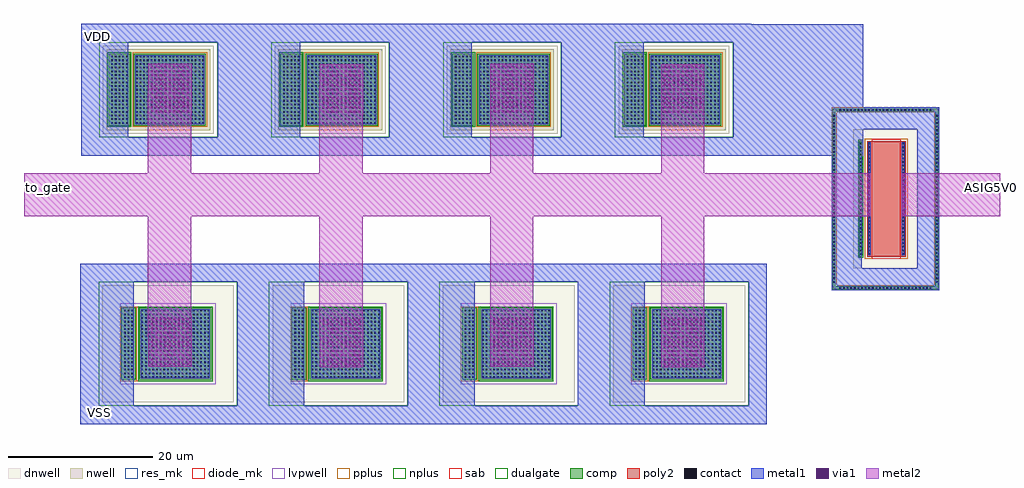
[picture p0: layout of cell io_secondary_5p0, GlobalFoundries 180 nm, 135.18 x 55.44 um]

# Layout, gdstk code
import gdstk
lib = gdstk.Library(unit=1e-6, precision=5e-09)
def R(c, l, rs):  # rectangles x0, y0, x1, y1
    for r in rs: c.add(gdstk.rectangle(r[:2], r[2:], *l))
def A(c, l, x, y, w, h, nx, ny, dx, dy):  # array of equal rectangles
    R(c, l, [(x+i*dx, y+j*dy, x+i*dx+w, y+j*dy+h) for i in range(nx) for j in range(ny)])
def P(c, l, *ps):  # polygons
    for p in ps: c.add(gdstk.Polygon(p, *l))
dnwell = (12, 0)
nwell = (21, 0)
comp = (22, 0)
poly2 = (30, 0)
pplus = (31, 0)
nplus = (32, 0)
contact = (33, 0)
metal1 = (34, 0)
via1 = (35, 0)
metal2 = (36, 0)
sab = (49, 0)
dualgate = (55, 0)
res_mk = (110, 5)
diode_mk = (115, 5)
lvpwell = (204, 0)

diode_nd2ps_1 = lib.new_cell('diode_nd2ps$1')
R(diode_nd2ps_1, dnwell, [(-5.14,-3.1,13.1,13.1)])
R(diode_nd2ps_1, comp, [(-2.48,0,-0.48,10), (0,0,10,10)])
R(diode_nd2ps_1, pplus, [(-2.64,-0.16,-0.32,10.16)])
R(diode_nd2ps_1, nplus, [(-0.16,-0.16,10.16,10.16)])
A(diode_nd2ps_1, contact, -2.1, 0.3, 0.22, 0.22, 3, 19, 0.51, 0.51)
A(diode_nd2ps_1, contact, 0.3, 0.3, 0.22, 0.22, 19, 19, 0.51, 0.51)
R(diode_nd2ps_1, metal1, [(-2.18,0.22,-0.78,9.78), (0.22,0.22,9.78,9.78)])
R(diode_nd2ps_1, dualgate, [(-5.64,-3.6,13.6,13.6)])
R(diode_nd2ps_1, diode_mk, [(-2.64,-0.16,10.16,10.16)])
R(diode_nd2ps_1, lvpwell, [(-2.64,-0.6,10.6,10.6)])

diode_pd2nw_1 = lib.new_cell('diode_pd2nw$1')
R(diode_pd2nw_1, dnwell, [(-4.26,-1.1,11.1,11.1)])
R(diode_pd2nw_1, nwell, [(-3.76,-0.6,10.6,10.6)])
R(diode_pd2nw_1, comp, [(-3.48,0,-0.48,10), (0,0,10,10)])
R(diode_pd2nw_1, pplus, [(-0.16,-0.16,10.16,10.16)])
R(diode_pd2nw_1, nplus, [(-3.64,-0.16,-0.32,10.16)])
A(diode_pd2nw_1, contact, -3.11, 0.3, 0.22, 0.22, 5, 19, 0.51, 0.51)
A(diode_pd2nw_1, contact, 0.3, 0.3, 0.22, 0.22, 19, 19, 0.51, 0.51)
R(diode_pd2nw_1, metal1, [(-3.19,0.22,-0.77,9.78), (0.22,0.22,9.78,9.78)])
R(diode_pd2nw_1, dualgate, [(-4.76,-1.6,11.6,11.6)])
R(diode_pd2nw_1, diode_mk, [(0,0,10,10)])
diode_pd2nw_1.add(gdstk.Label('Cathode', (-1.98,5), layer=34, texttype=10))
diode_pd2nw_1.add(gdstk.Label('Anode', (5,5), layer=34, texttype=10))

ppolyf_u_resistor = lib.new_cell('ppolyf_u_resistor')
R(ppolyf_u_resistor, dnwell, [(-2.56,-1.64,6.3,17.64)])
R(ppolyf_u_resistor, comp, [(-1.74,0,-1.38,16)])
P(ppolyf_u_resistor, comp, [(-5.42,-4.5),(-5.42,-4.14),(8.8,-4.14),(8.8,20.14),(-5.06,20.14),(-5.06,-4.14),(-5.42,-4.14),(-5.42,20.5),(9.16,20.5),(9.16,-4.5)])
R(ppolyf_u_resistor, poly2, [(-0.66,0,4.66,16)])
R(ppolyf_u_resistor, pplus, [(-0.96,-0.3,4.96,16.3)])
P(ppolyf_u_resistor, pplus, [(-5.58,-4.66),(-5.58,-3.98),(8.64,-3.98),(8.64,19.98),(-4.9,19.98),(-4.9,-3.98),(-5.58,-3.98),(-5.58,20.66),(9.32,20.66),(9.32,-4.66)])
R(ppolyf_u_resistor, nplus, [(-1.9,-0.16,-1.22,16.16)])
A(ppolyf_u_resistor, contact, -4.49, -4.43, 0.22, 0.22, 26, 2, 0.5, 24.64)
A(ppolyf_u_resistor, contact, -5.35, -3.61, 0.22, 0.22, 1, 47, 0, 0.5)
A(ppolyf_u_resistor, contact, 8.87, -3.61, 0.22, 0.22, 1, 47, 0, 0.5)
A(ppolyf_u_resistor, contact, -1.67, 0.24, 0.22, 0.22, 1, 31, 0, 0.51)
A(ppolyf_u_resistor, contact, -0.44, 0.24, 0.22, 0.22, 1, 31, 0, 0.51)
A(ppolyf_u_resistor, contact, 4.22, 0.24, 0.22, 0.22, 1, 31, 0, 0.51)
R(ppolyf_u_resistor, metal1, [(-1.75,0.16,-1.37,15.84), (-0.52,0.16,-0.14,15.84), (4.14,0.16,4.52,15.84)])
P(ppolyf_u_resistor, metal1, [(-5.42,-4.5),(-5.42,-4.14),(8.8,-4.14),(8.8,20.14),(-5.06,20.14),(-5.06,-4.14),(-5.42,-4.14),(-5.42,20.5),(9.16,20.5),(9.16,-4.5)])
R(ppolyf_u_resistor, sab, [(0,-0.28,4,16.28)])
R(ppolyf_u_resistor, res_mk, [(0,0,4,16)])

via_dev_3 = lib.new_cell('via_dev$3')
R(via_dev_3, metal1, [(0,0,0.4,6)])
A(via_dev_3, via1, 0.07, 0.22, 0.26, 0.26, 1, 11, 0, 0.53)
R(via_dev_3, metal2, [(0,0,0.4,6)])

via_dev_2 = lib.new_cell('via_dev$2')
R(via_dev_2, metal1, [(0,0,6,7)])
A(via_dev_2, via1, 0.39, 0.27, 0.26, 0.26, 9, 11, 0.62, 0.62)
R(via_dev_2, metal2, [(0,0,6,7)])

io_secondary_5p0 = lib.new_cell('io_secondary_5p0')
R(io_secondary_5p0, metal1, [(-29.215,-3.44,65.86,-0.925), (-29.215,-3.44,-21.785,18.8), (-7.45,-3.44,1.83,18.8), (16.15,-3.44,25.43,18.8), (39.65,-3.44,48.93,18.8), (63.35,-3.44,65.865,18.8), (74.84,15.105,79.035,40.43), (74.84,15.105,89.735,18.125), (86.72,15.105,89.74,40.425), (-29.215,16.285,65.86,18.8), (-29.095,33.71,-22.585,51.935), (61.185,33.72,79.2,51.965), (-29.095,33.75,63.705,36.27), (37.39,33.75,48.815,51.83), (-10.21,33.755,1.215,51.83), (13.59,33.755,25.015,51.83), (74.845,37.4,89.7,40.43), (-29.095,49.475,63.705,51.995)])
P(io_secondary_5p0, metal1, [(7.58,17.28),(7.58,17.28),(7.58,17.28),(7.58,17.28)],
  [(6.68,8.37),(6.68,8.37),(6.68,8.37),(6.68,8.37)])
io_secondary_5p0.add(gdstk.FlexPath([(6.9,8.685),(6.9,43.39)], 6, ends="flush", simple_path=True, layer=36, datatype=0))  # metal2
io_secondary_5p0.add(gdstk.FlexPath([(-16.85,8.685),(-16.85,43.39)], 6, ends="flush", simple_path=True, layer=36, datatype=0))  # metal2
io_secondary_5p0.add(gdstk.FlexPath([(30.55,8.685),(30.55,43.39)], 6, ends="flush", simple_path=True, layer=36, datatype=0))  # metal2
io_secondary_5p0.add(gdstk.FlexPath([(54.225,8.685),(54.225,43.39)], 6, ends="flush", simple_path=True, layer=36, datatype=0))  # metal2
io_secondary_5p0.add(gdstk.FlexPath([(79.985,28.325),(-37.015,28.325)], 6, ends="flush", simple_path=True, layer=36, datatype=0))  # metal2
io_secondary_5p0.add(gdstk.FlexPath([(84.81,28.325),(98.16,28.325)], 6, ends="flush", simple_path=True, layer=36, datatype=0))  # metal2
r = gdstk.Reference(diode_nd2ps_1, (-21.055,2.68)); r.repetition = gdstk.Repetition(4, 1, v1=(23.6,0), v2=(0,0)); io_secondary_5p0.add(r)
r = gdstk.Reference(diode_pd2nw_1, (-21.815,37.875)); r.repetition = gdstk.Repetition(4, 1, v1=(23.8,0), v2=(0,0)); io_secondary_5p0.add(r)
io_secondary_5p0.add(gdstk.Reference(ppolyf_u_resistor, (80.42,19.765)))
io_secondary_5p0.add(gdstk.Reference(via_dev_3, (79.89,25.325)))
io_secondary_5p0.add(gdstk.Reference(via_dev_2, (51.22,39.435)))
io_secondary_5p0.add(gdstk.Reference(via_dev_2, (27.585,39.495)))
io_secondary_5p0.add(gdstk.Reference(via_dev_2, (3.95,39.435)))
io_secondary_5p0.add(gdstk.Reference(via_dev_2, (-19.81,39.495)))
io_secondary_5p0.add(gdstk.Reference(via_dev_2, (51.22,4.435)))
io_secondary_5p0.add(gdstk.Reference(via_dev_2, (27.585,4.495)))
io_secondary_5p0.add(gdstk.Reference(via_dev_2, (3.95,4.435)))
io_secondary_5p0.add(gdstk.Reference(via_dev_3, (84.555,25.325)))
io_secondary_5p0.add(gdstk.Reference(via_dev_2, (-19.81,4.495)))
io_secondary_5p0.add(gdstk.Label('to_gate', (-33.635,29.4), layer=36, texttype=10))
io_secondary_5p0.add(gdstk.Label('ASIG5V0', (96.95,29.335), layer=36, texttype=10))
io_secondary_5p0.add(gdstk.Label('VDD', (-26.895,50.305), layer=36, texttype=10))
io_secondary_5p0.add(gdstk.Label('VSS', (-26.57,-1.875), layer=36, texttype=10))

lib.write_gds('io_secondary_5p0.gds')
